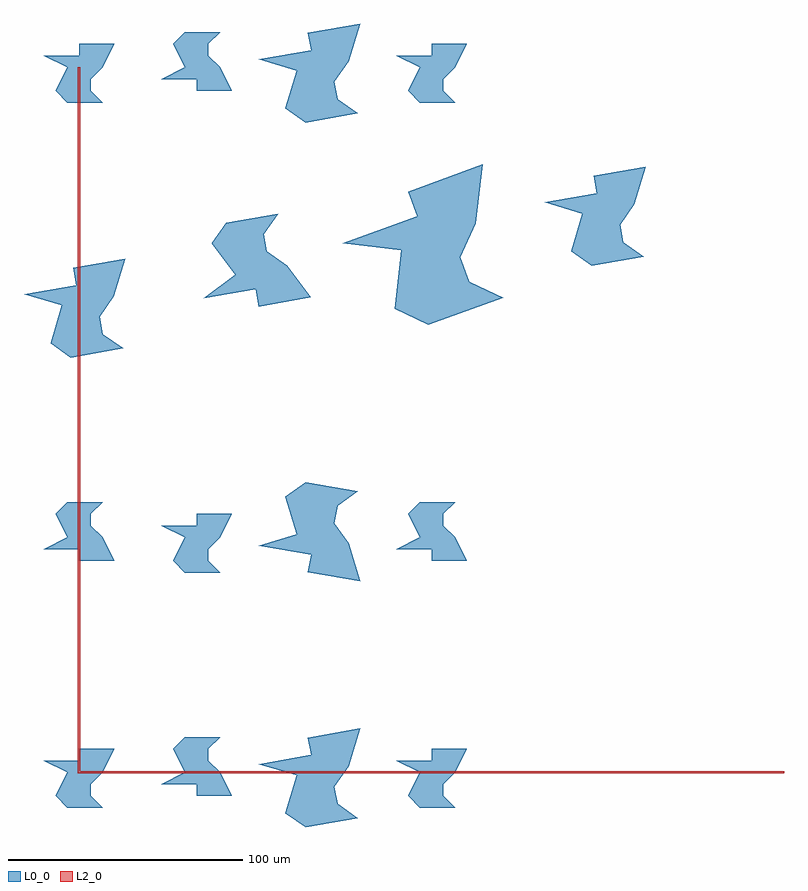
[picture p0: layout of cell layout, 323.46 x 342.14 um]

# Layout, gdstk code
from math import pi, radians
import gdstk
lib = gdstk.Library(unit=1e-6, precision=5e-09)
def P(c, l, *ps):  # polygons
    for p in ps: c.add(gdstk.Polygon(p, *l))
L0_0 = (0, 0)
L2_0 = (2, 0)

shape = lib.new_cell('shape')
P(shape, L0_0, [(10,0),(15,10),(0,10),(0,5),(-15,5),(-5,0),(-10,-10),(-5,-15),(10,-15),(5,-10),(5,-5)])

c_3_shapes = lib.new_cell('3_shapes')
c_3_shapes.add(gdstk.Reference(shape, (0,0)))
c_3_shapes.add(gdstk.Reference(shape, (50,0), x_reflection=True))
c_3_shapes.add(gdstk.Reference(shape, (100,0), rotation=radians(10), magnification=1.5))
c_3_shapes.add(gdstk.Reference(shape, (150,0)))

c_3_shapes_bis = lib.new_cell('3_shapes_bis')
c_3_shapes_bis.add(gdstk.Reference(c_3_shapes, (0,0)))
c_3_shapes_bis.add(gdstk.Reference(c_3_shapes, (0,100), x_reflection=True))
c_3_shapes_bis.add(gdstk.Reference(c_3_shapes, (0,200), rotation=radians(10), magnification=1.5))
c_3_shapes_bis.add(gdstk.Reference(c_3_shapes, (0,300)))

axis = lib.new_cell('axis')
P(axis, L2_0, [(0.5,300),(0.5,0.5),(300,0.5),(300,-0.5),(-0.5,-0.5),(-0.5,300)])

layout = lib.new_cell('layout')
layout.add(gdstk.Reference(c_3_shapes_bis, (0,0)))
layout.add(gdstk.Reference(axis, (0,0)))

lib.write_gds('layout.gds')
